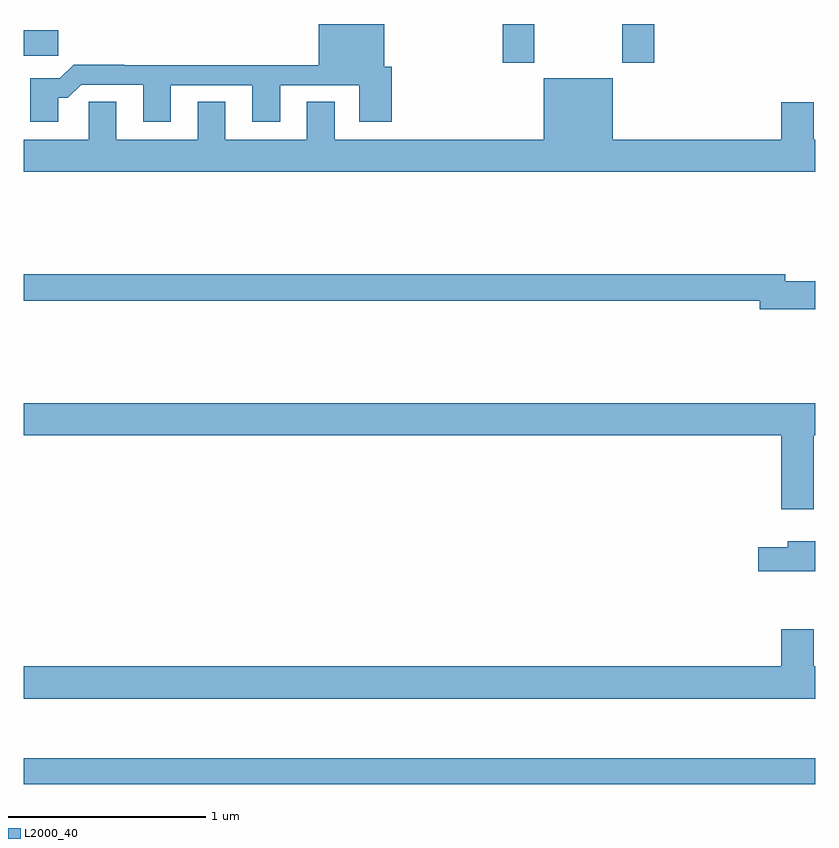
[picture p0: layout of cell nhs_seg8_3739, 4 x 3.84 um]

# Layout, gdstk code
import gdstk
lib = gdstk.Library(unit=1e-6, precision=1e-09)
def R(c, l, rs):  # rectangles x0, y0, x1, y1
    for r in rs: c.add(gdstk.rectangle(r[:2], r[2:], *l))
def P(c, l, *ps):  # polygons
    for p in ps: c.add(gdstk.Polygon(p, *l))
L2000_40 = (2000, 40)

nhs_seg8_3739 = lib.new_cell('nhs_seg8_3739')
R(nhs_seg8_3739, L2000_40, [(341,1128.058,345,1128.187), (343.421,1131.705,343.581,1131.9), (344.026,1131.705,344.186,1131.9), (341,1131.739,341.173,1131.868)])
P(nhs_seg8_3739, L2000_40, [(341.173,1131.527),(341.222,1131.527),(341.289,1131.594),(341.603,1131.594),(341.603,1131.405),(341.743,1131.405),(341.743,1131.591),(342.155,1131.591),(342.155,1131.405),(342.295,1131.405),(342.295,1131.591),(342.695,1131.591),(342.695,1131.405),(342.86,1131.405),(342.86,1131.684),(342.823,1131.684),(342.823,1131.9),(342.491,1131.9),(342.491,1131.692),(341.507,1131.692),(341.507,1131.695),(341.252,1131.695),(341.182,1131.625),(341.033,1131.625),(341.033,1131.405),(341.173,1131.405)],
  [(345,1131.316),(344.992,1131.316),(344.992,1131.505),(344.828,1131.505),(344.828,1131.316),(343.978,1131.316),(343.978,1131.625),(343.628,1131.625),(343.628,1131.316),(342.571,1131.316),(342.571,1131.506),(342.431,1131.506),(342.431,1131.316),(342.019,1131.316),(342.019,1131.506),(341.879,1131.506),(341.879,1131.316),(341.467,1131.316),(341.467,1131.506),(341.328,1131.506),(341.328,1131.316),(341,1131.316),(341,1131.152),(345,1131.152)],
  [(345,1130.6),(344.848,1130.6),(344.848,1130.636),(341,1130.636),(341,1130.5),(344.72,1130.5),(344.72,1130.458),(345,1130.458)],
  [(344.992,1129.82),(345,1129.82),(345,1129.984),(341,1129.984),(341,1129.82),(344.828,1129.82),(344.828,1129.446),(344.992,1129.446)],
  [(345,1129.285),(344.861,1129.285),(344.861,1129.255),(344.712,1129.255),(344.712,1129.133),(345,1129.133)],
  [(345,1128.652),(344.992,1128.652),(344.992,1128.841),(344.828,1128.841),(344.828,1128.652),(341,1128.652),(341,1128.488),(345,1128.488)])

lib.write_gds('nhs_seg8_3739.gds')
